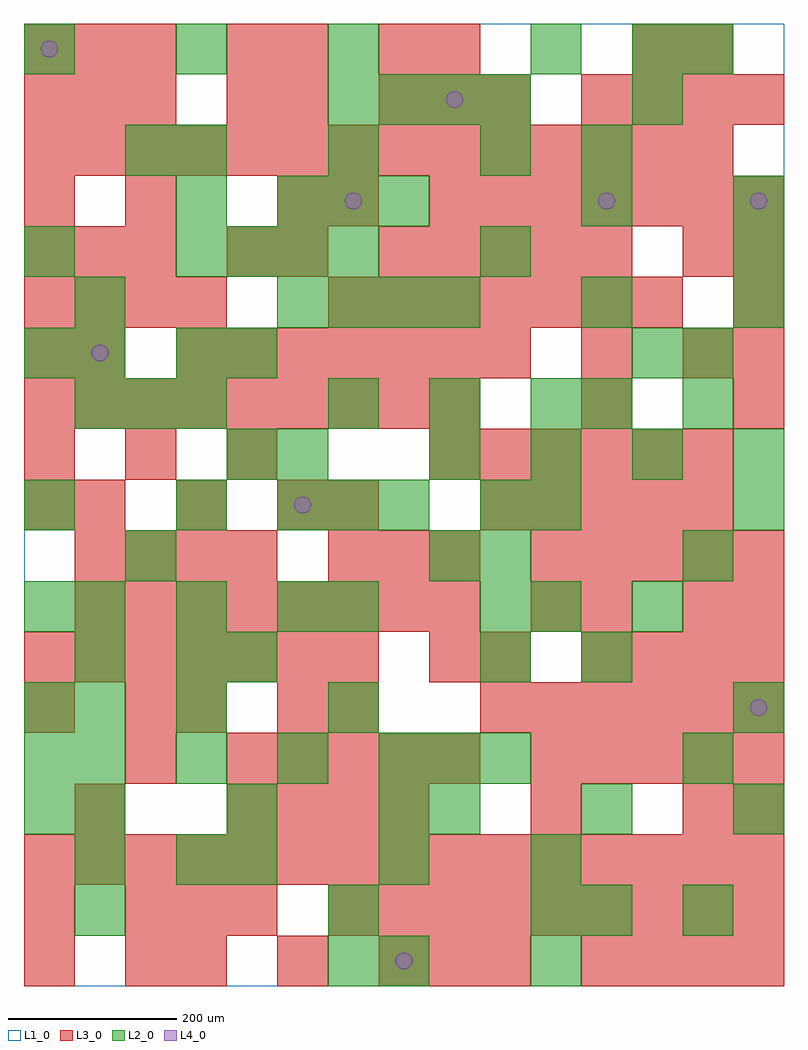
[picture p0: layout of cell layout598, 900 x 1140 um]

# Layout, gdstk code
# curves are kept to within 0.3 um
import gdstk
lib = gdstk.Library(unit=1e-6, precision=1e-09)
def R(c, l, rs):  # rectangles x0, y0, x1, y1
    for r in rs: c.add(gdstk.rectangle(r[:2], r[2:], *l))
def A(c, l, x, y, w, h, nx, ny, dx, dy):  # array of equal rectangles
    R(c, l, [(x+i*dx, y+j*dy, x+i*dx+w, y+j*dy+h) for i in range(nx) for j in range(ny)])
def P(c, l, *ps):  # polygons
    for p in ps: c.add(gdstk.Polygon(p, *l))
L1_0 = (1, 0)
L2_0 = (2, 0)
L3_0 = (3, 0)
L4_0 = (4, 0)

layout598 = lib.new_cell('layout598')
R(layout598, L1_0, [(0,0,900,1140)])
A(layout598, L2_0, 660, 60, 60, 60, 1, 3, 0, 300)
A(layout598, L2_0, 240, 120, 60, 60, 3, 1, 180, 0)
A(layout598, L2_0, 0, 180, 60, 60, 1, 3, 0, 60)
A(layout598, L2_0, 60, 180, 60, 60, 3, 1, 180, 0)
A(layout598, L2_0, 480, 180, 60, 60, 3, 1, 180, 0)
A(layout598, L2_0, 60, 240, 60, 60, 4, 1, 120, 0)
A(layout598, L2_0, 840, 300, 60, 60, 1, 3, 0, 240)
A(layout598, L2_0, 180, 360, 60, 60, 1, 4, 0, 180)
A(layout598, L2_0, 540, 360, 60, 60, 1, 4, 0, 60)
A(layout598, L2_0, 60, 420, 60, 60, 3, 1, 120, 0)
A(layout598, L2_0, 720, 420, 60, 60, 1, 3, 0, 300)
A(layout598, L2_0, 300, 540, 60, 60, 3, 2, 60, 360)
A(layout598, L2_0, 480, 600, 60, 60, 4, 1, 120, 0)
A(layout598, L2_0, 60, 660, 60, 60, 3, 1, 60, 0)
A(layout598, L2_0, 360, 660, 60, 60, 3, 1, 120, 0)
A(layout598, L2_0, 300, 780, 60, 60, 4, 1, 60, 0)
A(layout598, L2_0, 180, 840, 60, 60, 4, 1, 60, 0)
A(layout598, L2_0, 180, 960, 60, 60, 3, 1, 180, 0)
A(layout598, L2_0, 360, 1020, 60, 60, 4, 1, 60, 0)
A(layout598, L2_0, 0, 1080, 60, 60, 3, 1, 180, 0)
R(layout598, L2_0, [(360,0,420,60), (420,0,480,60), (600,0,660,60), (60,60,120,120), (360,60,420,120), (600,60,660,120), (780,60,840,120), (60,120,120,180), (180,120,240,180), (480,240,540,300), (540,240,600,300), (780,240,840,300), (60,300,120,360), (180,300,240,360), (360,300,420,360), (60,360,120,420), (240,360,300,420), (0,420,60,480), (360,420,420,480), (600,420,660,480), (120,480,180,540), (480,480,540,540), (780,480,840,540), (0,540,60,600), (600,540,660,600), (240,600,300,660), (300,600,360,660), (780,660,840,720), (0,720,60,780), (60,720,120,780), (240,720,300,780), (780,720,840,780), (60,780,120,840), (660,780,720,840), (0,840,60,900), (540,840,600,900), (840,840,900,900), (660,900,720,960), (840,900,900,960), (120,960,180,1020), (660,960,720,1020), (600,1080,660,1140), (720,1080,780,1140), (780,1080,840,1140)])
A(layout598, L3_0, 180, 0, 60, 60, 3, 1, 120, 0)
A(layout598, L3_0, 660, 0, 60, 60, 4, 2, 60, 360)
A(layout598, L3_0, 0, 60, 60, 60, 1, 3, 0, 240)
A(layout598, L3_0, 120, 60, 60, 60, 3, 1, 60, 0)
A(layout598, L3_0, 360, 60, 60, 60, 9, 1, 60, 0)
A(layout598, L3_0, 0, 120, 60, 60, 15, 1, 60, 0)
A(layout598, L3_0, 240, 180, 60, 60, 4, 1, 60, 0)
A(layout598, L3_0, 840, 180, 60, 60, 1, 3, 0, 240)
A(layout598, L3_0, 240, 240, 60, 60, 5, 1, 60, 0)
A(layout598, L3_0, 600, 240, 60, 60, 5, 2, 60, 240)
A(layout598, L3_0, 540, 300, 60, 60, 6, 1, 60, 0)
A(layout598, L3_0, 0, 360, 60, 60, 7, 1, 60, 0)
A(layout598, L3_0, 60, 420, 60, 60, 8, 1, 60, 0)
A(layout598, L3_0, 60, 480, 60, 60, 4, 1, 60, 0)
A(layout598, L3_0, 360, 480, 60, 60, 3, 1, 60, 0)
A(layout598, L3_0, 60, 540, 60, 60, 3, 1, 120, 0)
A(layout598, L3_0, 540, 540, 60, 60, 5, 1, 60, 0)
A(layout598, L3_0, 0, 600, 60, 60, 3, 1, 120, 0)
A(layout598, L3_0, 480, 600, 60, 60, 6, 1, 60, 0)
A(layout598, L3_0, 0, 660, 60, 60, 9, 1, 60, 0)
A(layout598, L3_0, 180, 720, 60, 60, 7, 1, 60, 0)
A(layout598, L3_0, 840, 720, 60, 60, 1, 3, 0, 60)
A(layout598, L3_0, 0, 780, 60, 60, 4, 1, 60, 0)
A(layout598, L3_0, 360, 780, 60, 60, 7, 1, 60, 0)
A(layout598, L3_0, 0, 840, 60, 60, 3, 2, 60, 180)
A(layout598, L3_0, 420, 840, 60, 60, 5, 1, 60, 0)
A(layout598, L3_0, 480, 900, 60, 60, 7, 1, 60, 0)
A(layout598, L3_0, 0, 960, 60, 60, 14, 1, 60, 0)
A(layout598, L3_0, 420, 1020, 60, 60, 3, 1, 60, 0)
A(layout598, L3_0, 660, 1020, 60, 60, 4, 1, 60, 0)
A(layout598, L3_0, 0, 1080, 60, 60, 3, 1, 60, 0)
R(layout598, L3_0, [(0,0,60,60), (120,0,180,60), (480,0,540,60), (540,0,600,60), (60,180,120,240), (600,180,660,240), (780,180,840,240), (120,240,180,300), (120,300,180,360), (180,300,240,360), (300,300,360,360), (360,300,420,360), (480,360,540,420), (540,360,600,420), (600,420,660,480), (660,420,720,480), (780,420,840,480), (360,540,420,600), (660,660,720,720), (0,720,60,780), (60,720,120,780), (660,720,720,780), (780,720,840,780), (240,840,300,900), (300,840,360,900), (780,840,840,900), (0,900,60,960), (120,900,180,960), (300,900,360,960), (360,900,420,960), (240,1020,300,1080), (300,1020,360,1080), (240,1080,300,1140), (300,1080,360,1140), (420,1080,480,1140), (480,1080,540,1140), (720,1080,780,1140), (780,1080,840,1140)])
P(layout598, L4_0, [(40,1110),(39.239,1113.827),(37.071,1117.071),(33.827,1119.239),(30,1120),(26.173,1119.239),(22.929,1117.071),(20.761,1113.827),(20,1110),(20.761,1106.173),(22.929,1102.929),(26.173,1100.761),(30,1100),(33.827,1100.761),(37.071,1102.929),(39.239,1106.173)],
  [(100,750),(99.239,753.827),(97.071,757.071),(93.827,759.239),(90,760),(86.173,759.239),(82.929,757.071),(80.761,753.827),(80,750),(80.761,746.173),(82.929,742.929),(86.173,740.761),(90,740),(93.827,740.761),(97.071,742.929),(99.239,746.173)],
  [(340,570),(339.239,573.827),(337.071,577.071),(333.827,579.239),(330,580),(326.173,579.239),(322.929,577.071),(320.761,573.827),(320,570),(320.761,566.173),(322.929,562.929),(326.173,560.761),(330,560),(333.827,560.761),(337.071,562.929),(339.239,566.173)],
  [(400,930),(399.239,933.827),(397.071,937.071),(393.827,939.239),(390,940),(386.173,939.239),(382.929,937.071),(380.761,933.827),(380,930),(380.761,926.173),(382.929,922.929),(386.173,920.761),(390,920),(393.827,920.761),(397.071,922.929),(399.239,926.173)],
  [(460,30),(459.239,33.827),(457.071,37.071),(453.827,39.239),(450,40),(446.173,39.239),(442.929,37.071),(440.761,33.827),(440,30),(440.761,26.173),(442.929,22.929),(446.173,20.761),(450,20),(453.827,20.761),(457.071,22.929),(459.239,26.173)],
  [(520,1050),(519.239,1053.827),(517.071,1057.071),(513.827,1059.239),(510,1060),(506.173,1059.239),(502.929,1057.071),(500.761,1053.827),(500,1050),(500.761,1046.173),(502.929,1042.929),(506.173,1040.761),(510,1040),(513.827,1040.761),(517.071,1042.929),(519.239,1046.173)],
  [(700,930),(699.239,933.827),(697.071,937.071),(693.827,939.239),(690,940),(686.173,939.239),(682.929,937.071),(680.761,933.827),(680,930),(680.761,926.173),(682.929,922.929),(686.173,920.761),(690,920),(693.827,920.761),(697.071,922.929),(699.239,926.173)],
  [(880,330),(879.239,333.827),(877.071,337.071),(873.827,339.239),(870,340),(866.173,339.239),(862.929,337.071),(860.761,333.827),(860,330),(860.761,326.173),(862.929,322.929),(866.173,320.761),(870,320),(873.827,320.761),(877.071,322.929),(879.239,326.173)],
  [(880,930),(879.239,933.827),(877.071,937.071),(873.827,939.239),(870,940),(866.173,939.239),(862.929,937.071),(860.761,933.827),(860,930),(860.761,926.173),(862.929,922.929),(866.173,920.761),(870,920),(873.827,920.761),(877.071,922.929),(879.239,926.173)])

lib.write_gds('layout598.gds')
